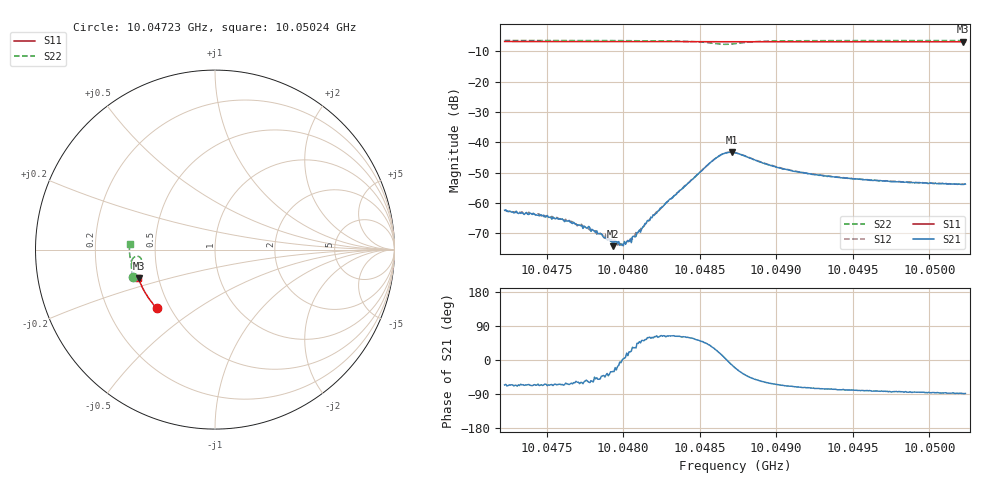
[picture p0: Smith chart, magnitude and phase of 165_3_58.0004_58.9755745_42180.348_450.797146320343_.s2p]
#  HZ  S  RI  R  50.00
! Rohde & Schwarz Vector Network Analyzer
! Rohde-Schwarz,ZNB20-2Port,1311601062101988,3.16
! Created: UTC 3/21/2024, 12:57:42 AM
! freq[Hz]  re:S11  im:S11  re:S21  im:S21  re:S12  im:S12  re:S22  im:S22
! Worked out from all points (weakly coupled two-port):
!   401 points, 10.04723 GHz to 10.05024 GHz, reference 50 ohm
!   highest |S21| = -43.32 dB at 10.04871 GHz (marker M1); lowest = -74.3 dB at 10.04793 GHz (marker M2)
!   lowest |S11| = -6.8 dB at 10.05022 GHz (marker M3), VSWR 2.67, Z = 19.3 - j7.74 ohm
!   |S11| at or under -10 dB: nowhere
!   |S22| runs from -7.7 to -6.4 dB; largest |S21 - S12| = 0.00048
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1.0047225e10  -0.3241 -0.327  0.00031 -0.000688  0.00036 -0.000658  -0.4546 -0.1513
1.0047459e10  -0.3346 -0.3154  0.000247 -0.00057  0.000284 -0.000564  -0.4588 -0.1354
1.0047587e10  -0.3401 -0.309  0.000242 -0.000491  0.000273 -0.000465  -0.4611 -0.1265
1.004773e10  -0.3463 -0.3017  0.000216 -0.000362  0.00025 -0.000355  -0.4632 -0.1162
1.0047767e10  -0.3477 -0.2998  0.000218 -0.00032  0.000235 -0.000302  -0.4637 -0.1133
1.0047842e10  -0.3509 -0.2959  0.000195 -0.00024  0.000215 -0.000213  -0.4647 -0.1077
1.004791e10  -0.3536 -0.2923  0.000203 -0.000154  0.000209 -0.000115  -0.4655 -0.1027
1.0047933e10  -0.3546 -0.2912  0.000166 -9.71e-05  0.000214 -9.32e-05  -0.4657 -0.1007
1.0047955e10  -0.3555 -0.29  0.000207 -0.000103  0.000224 -7.51e-05  -0.4658 -0.0989
1.0047978e10  -0.3564 -0.2888  0.000198 -1.76e-05  0.000226 -1.11e-05  -0.4661 -0.0971
1.0048e10  -0.3573 -0.2876  0.000195 1.24e-05  0.000204 3.85e-05  -0.4662 -0.0951
1.0048053e10  -0.3594 -0.2849  0.000201 8.73e-05  0.000227 0.000131  -0.4665 -0.0908
1.0048234e10  -0.3665 -0.2752  0.000359 0.000651  0.000322 0.000689  -0.4664 -0.074
1.0048595e10  -0.3794 -0.2552  0.0045 0.00264  0.00436 0.00289  -0.4263 -0.038
1.0048655e10  -0.3812 -0.252  0.00638 0.00101  0.00638 0.00137  -0.4106 -0.0528
1.0048708e10  -0.383 -0.2492  0.00666 -0.00147  0.00674 -0.00101  -0.4121 -0.0733
1.0048731e10  -0.3837 -0.2481  0.00626 -0.00234  0.00644 -0.00196  -0.4173 -0.0798
1.0048994e10  -0.393 -0.2332  0.00173 -0.00355  0.00195 -0.00346  -0.4646 -0.0675
1.0049235e10  -0.4004 -0.219  0.000796 -0.00283  0.000969 -0.00282  -0.4729 -0.0436
1.0049739e10  -0.4147 -0.189  0.000277 -0.00223  0.000393 -0.00223  -0.4768 -0.00424
1.0050221e10  -0.4261 -0.1594  5.48e-05 -0.00201  0.000164 -0.00201  -0.4758 0.0299
1.0050236e10  -0.4265 -0.1585  5.87e-05 -0.00203  0.000149 -0.00204  -0.4758 0.0309
